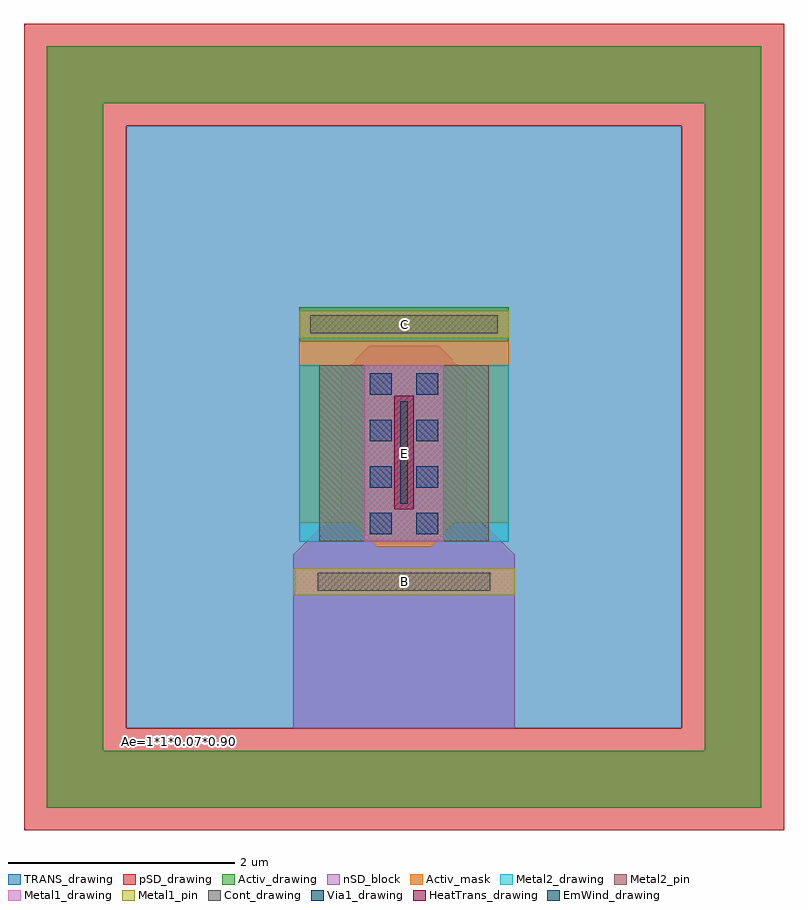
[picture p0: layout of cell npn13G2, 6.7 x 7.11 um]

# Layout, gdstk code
import gdstk
lib = gdstk.Library(unit=1e-6, precision=1e-09)
def R(c, l, rs):  # rectangles x0, y0, x1, y1
    for r in rs: c.add(gdstk.rectangle(r[:2], r[2:], *l))
def A(c, l, x, y, w, h, nx, ny, dx, dy):  # array of equal rectangles
    R(c, l, [(x+i*dx, y+j*dy, x+i*dx+w, y+j*dy+h) for i in range(nx) for j in range(ny)])
def P(c, l, *ps):  # polygons
    for p in ps: c.add(gdstk.Polygon(p, *l))
Activ_drawing = (1, 0)
Activ_mask = (1, 20)
Cont_drawing = (6, 0)
nSD_block = (7, 21)
Metal1_drawing = (8, 0)
Metal1_pin = (8, 2)
Metal2_drawing = (10, 0)
Metal2_pin = (10, 2)
pSD_drawing = (14, 0)
Via1_drawing = (19, 0)
TRANS_drawing = (26, 0)
EmWind_drawing = (33, 0)
HeatTrans_drawing = (51, 0)

npn13g2_base_cdns_675179 = lib.new_cell('npn13G2_base_CDNS_675179387640')
R(npn13g2_base_cdns_675179, Activ_drawing, [(-0.925,-1.28,0.925,-0.98)])
P(npn13g2_base_cdns_675179, Activ_mask, [(-0.925,-0.98),(-0.925,0.62),(-0.445,0.62),(-0.235,0.83),(0.235,0.83),(0.445,0.62),(0.925,0.62),(0.925,-0.98)])
R(npn13g2_base_cdns_675179, Cont_drawing, [(-0.825,-1.21,0.825,-1.05), (-0.76,1.06,0.76,1.22)])
P(npn13g2_base_cdns_675179, nSD_block, [(-0.305,-0.94),(-0.555,-0.69),(-0.555,0.48),(-0.975,0.9),(-0.975,2.43),(0.975,2.43),(0.975,0.9),(0.555,0.48),(0.555,-0.69),(0.305,-0.94)])
R(npn13g2_base_cdns_675179, Metal1_drawing, [(-0.925,-1.25,0.925,-1.01), (-0.35,-0.77,0.35,0.785), (-0.975,1.02,0.975,1.26)])
R(npn13g2_base_cdns_675179, Metal2_drawing, [(-0.925,-0.77,0.925,0.785)])
A(npn13g2_base_cdns_675179, Via1_drawing, -0.3, -0.7, 0.19, 0.19, 1, 4, 0, 0.41)
A(npn13g2_base_cdns_675179, Via1_drawing, 0.11, -0.7, 0.19, 0.19, 1, 4, 0, 0.41)
R(npn13g2_base_cdns_675179, EmWind_drawing, [(-0.035,-0.45,0.035,0.45), (-0.035,-0.45,0.035,0.45)])
R(npn13g2_base_cdns_675179, HeatTrans_drawing, [(-0.085,-0.5,0.085,0.5)])
npn13g2_base_cdns_675179.add(gdstk.Label('npn13G2', (0.015,-2.31), layer=63, texttype=0))
npn13g2_base_cdns_675179.add(gdstk.Label('npn13G2_base', (0,0), layer=51, texttype=0))

npn13g2 = lib.new_cell('npn13G2')
P(npn13g2, Activ_drawing, [(-3.15,-3.13),(-3.15,3.58),(2.65,3.58),(2.65,3.08),(-2.65,3.08),(-2.65,-2.63),(2.65,-2.63),(2.65,3.58),(3.15,3.58),(3.15,-3.13)])
R(npn13g2, Metal1_pin, [(-0.965,-1.26,0.975,-1.02), (-0.915,1.01,0.925,1.25)])
R(npn13g2, Metal2_pin, [(-0.745,-0.78,0.745,0.77)])
P(npn13g2, pSD_drawing, [(-3.35,-3.33),(-3.35,3.78),(2.45,3.78),(2.45,2.88),(-2.45,2.88),(-2.45,-2.43),(2.45,-2.43),(2.45,3.78),(3.35,3.78),(3.35,-3.33)])
R(npn13g2, TRANS_drawing, [(-2.45,-2.43,2.45,2.88)])
npn13g2.add(gdstk.Reference(npn13g2_base_cdns_675179, (0,0), x_reflection=True))
npn13g2.add(gdstk.Label('Ae=1*1*0.07*0.90', (-1.977,-2.546), layer=63, texttype=0))
npn13g2.add(gdstk.Label('E', (0,-0.005), layer=63, texttype=0))
npn13g2.add(gdstk.Label('B', (0.005,-1.14), layer=63, texttype=0))
npn13g2.add(gdstk.Label('C', (0.005,1.13), layer=63, texttype=0))

lib.write_gds('npn13G2.gds')
